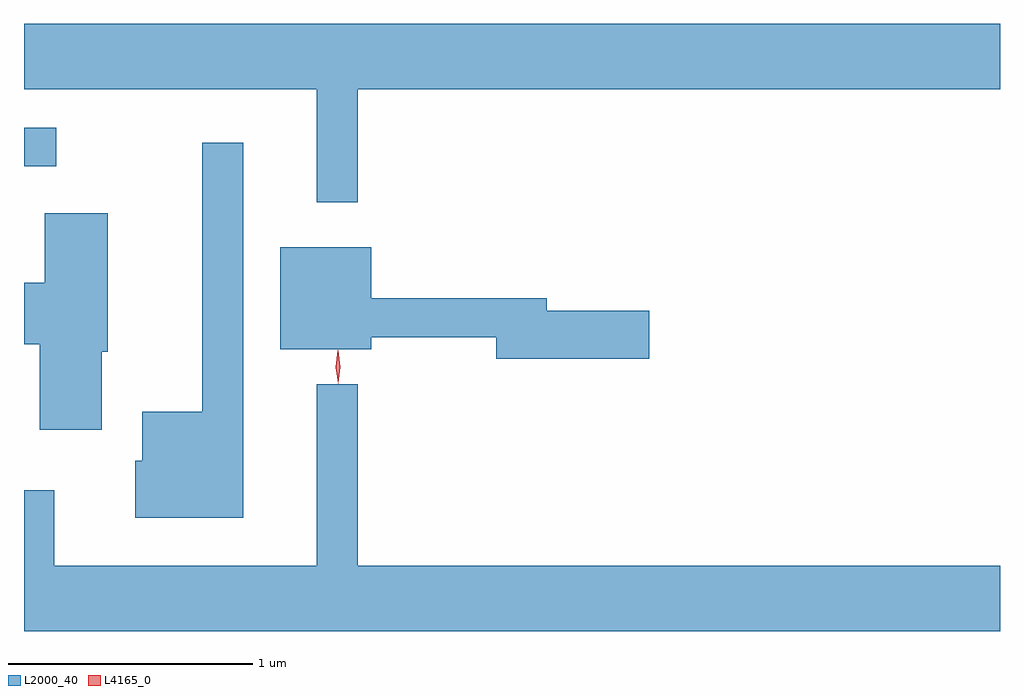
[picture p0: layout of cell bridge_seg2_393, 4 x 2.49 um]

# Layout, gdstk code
import gdstk
lib = gdstk.Library(unit=1e-6, precision=1e-09)
def R(c, l, rs):  # rectangles x0, y0, x1, y1
    for r in rs: c.add(gdstk.rectangle(r[:2], r[2:], *l))
def P(c, l, *ps):  # polygons
    for p in ps: c.add(gdstk.Polygon(p, *l))
L2000_40 = (2000, 40)
L4165_0 = (4165, 0)

bridge_seg2_393 = lib.new_cell('bridge_seg2_393')
R(bridge_seg2_393, L2000_40, [(655.111,1005.821,655.243,1005.979)])
P(bridge_seg2_393, L2000_40, [(656.479,1006.136),(659.111,1006.136),(659.111,1006.404),(655.111,1006.404),(655.111,1006.136),(656.311,1006.136),(656.311,1005.673),(656.479,1005.673)],
  [(656.009,1005.918),(655.841,1005.918),(655.841,1004.814),(655.596,1004.814),(655.596,1004.614),(655.566,1004.614),(655.566,1004.381),(656.009,1004.381)],
  [(655.429,1005.061),(655.454,1005.061),(655.454,1005.629),(655.196,1005.629),(655.196,1005.344),(655.111,1005.344),(655.111,1005.091),(655.176,1005.091),(655.176,1004.741),(655.429,1004.741)],
  [(657.674,1005.229),(657.254,1005.229),(657.254,1005.279),(656.534,1005.279),(656.534,1005.489),(656.161,1005.489),(656.161,1005.071),(656.534,1005.071),(656.534,1005.121),(657.046,1005.121),(657.046,1005.031),(657.674,1005.031)],
  [(659.111,1004.184),(656.479,1004.184),(656.479,1004.928),(656.311,1004.928),(656.311,1004.184),(655.234,1004.184),(655.234,1004.494),(655.111,1004.494),(655.111,1003.916),(659.111,1003.916)])
P(bridge_seg2_393, L4165_0, [(656.398,1004.93),(656.398,1004.931),(656.388,1004.998),(656.396,1005.066),(656.397,1005.066),(656.398,1005.066),(656.408,1004.998),(656.398,1004.931)])

lib.write_gds('bridge_seg2_393.gds')
